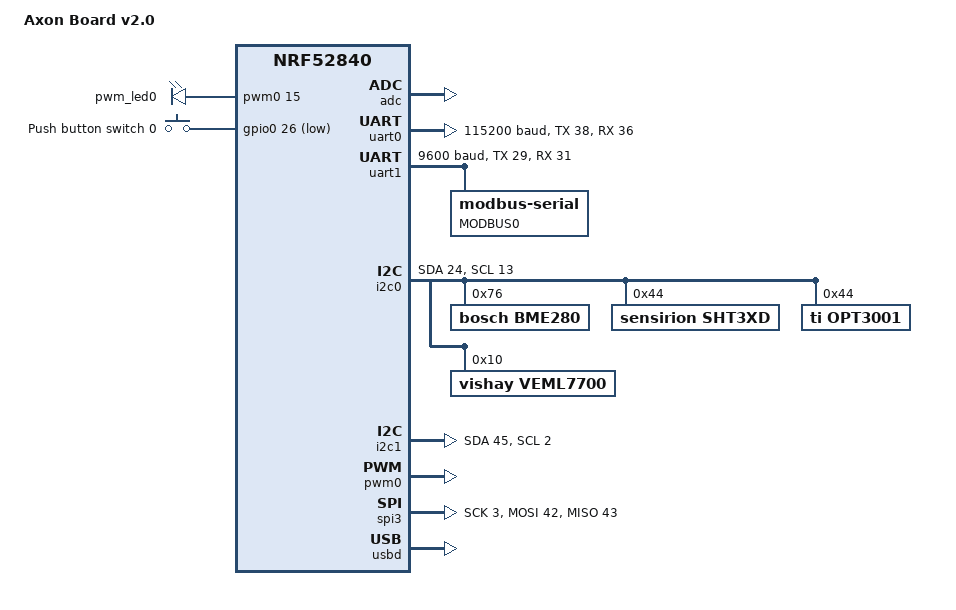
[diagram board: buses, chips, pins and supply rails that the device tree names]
/*
 * Copyright (c) 2021 Hyper Collective LTD
 */

/dts-v1/;
#include <nordic/nrf52840_qiaa.dtsi>

/ {
	model = "Axon Board v2.0";
	compatible = "nordic,nrf52840-dk-nrf52840";

	chosen {
		zephyr,console = &uart0;
		zephyr,shell-uart = &uart0;
		zephyr,uart-mcumgr = &uart0;
		zephyr,bt-mon-uart = &uart0;
		zephyr,bt-c2h-uart = &uart0;
		zephyr,sram = &sram0;
		zephyr,flash = &flash0;
		zephyr,code-partition = &slot0_partition;
	};

	pwmleds {
		compatible = "pwm-leds";
		pwm_led0: pwm_led_0 {
			pwms = <&pwm0 15>;
		};
	};

	buttons {
		compatible = "gpio-keys";
		button0: button_0 {
			gpios = <&gpio0 26 (GPIO_PULL_UP | GPIO_ACTIVE_LOW)>;
			label = "Push button switch 0";
		};
	};

	/* These aliases are provided for compatibility with samples */
	aliases {
		pwm-led0 = &pwm_led0;
		sw0 = &button0;
	};
};

&adc {
	status = "okay";
};

&gpiote {
	status = "okay";
};

&gpio0 {
	status = "okay";
};

&gpio1 {
	status = "okay";
};

&uart0 {
	compatible = "nordic,nrf-uarte";
	status = "okay";
	current-speed = <115200>;
	tx-pin = <38>;
	rx-pin = <36>;
};

&uart1 {
	compatible = "nordic,nrf-uarte";
	status = "okay";
	current-speed = <9600>;
	tx-pin = <29>;
	rx-pin = <31>;
	modbus0 {
		compatible = "zephyr,modbus-serial";
		label = "MODBUS0";
		status = "okay";
	};
};

&i2c0 {
	compatible = "nordic,nrf-twi";
	status = "okay";
	sda-pin = <24>;
	scl-pin = <13>;
	bme280@76 {
		compatible = "bosch,bme280";
		reg = <0x76>;
		label = "BME280";
	};
	sht3xd@44 {
		compatible = "sensirion,sht3xd";
		reg = <0x44>;
		label = "SHT3XD";
	};
	opt3001@44 {
		compatible = "ti,opt3001";
		label = "OPT3001";
		reg = <0x44>;
	};
	veml7700@10 {
		compatible = "vishay,veml7700";
		label = "VEML7700";
		reg = <0x10>;
	};
};

&i2c1 {
	compatible = "nordic,nrf-twi";
	/* Cannot be used together with spi1. */
	status = "okay";
	sda-pin = <45>;
	scl-pin = <2>;
};

&pwm0 {
	status = "okay";
	ch0-pin = <15>;
	ch0-inverted;
};

&spi3 {
	compatible = "nordic,nrf-spi";
	status = "okay";
	sck-pin = <3>;
	mosi-pin = <42>;
	miso-pin = <43>;
};

&flash0 {

	partitions {
		compatible = "fixed-partitions";
		#address-cells = <1>;
		#size-cells = <1>;

		boot_partition: partition@0 {
			label = "mcuboot";
			reg = <0x000000000 0x0000C000>;
		};
		slot0_partition: partition@c000 {
			label = "image-0";
			reg = <0x0000C000 0x00067000>;
		};
		slot1_partition: partition@73000 {
			label = "image-1";
			reg = <0x00073000 0x00067000>;
		};
		scratch_partition: partition@da000 {
			label = "image-scratch";
			reg = <0x000da000 0x0001e000>;
		};

		/*
		 * The flash starting at 0x000f8000 and ending at
		 * 0x000fffff is reserved for use by the application.
		 */

		/*
		 * Storage partition will be used by FCB/LittleFS/NVS
		 * if enabled.
		 */
		storage_partition: partition@f8000 {
			label = "storage";
			reg = <0x000f8000 0x00008000>;
		};
	};
};

zephyr_udc0: &usbd {
	compatible = "nordic,nrf-usbd";
	status = "okay";
};
